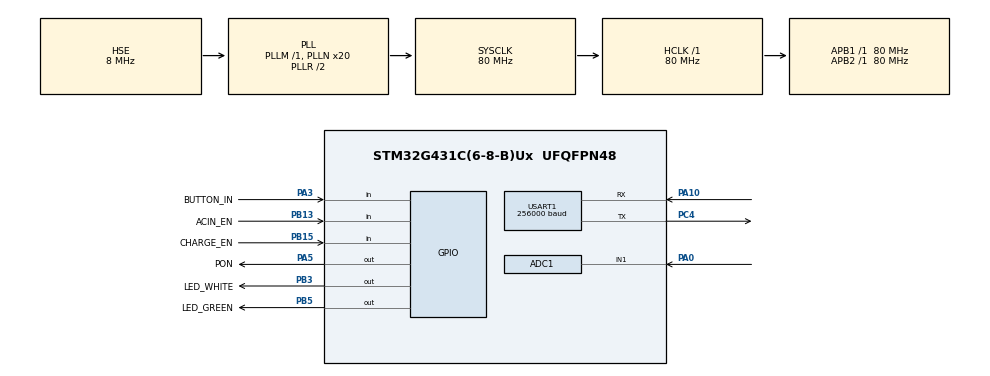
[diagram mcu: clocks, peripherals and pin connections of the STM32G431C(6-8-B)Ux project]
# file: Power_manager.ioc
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ADC1.Channel-0\#ChannelRegularConversion=ADC_CHANNEL_1
ADC1.NbrOfConversionFlag=1
ADC1.OffsetNumber-0\#ChannelRegularConversion=ADC_OFFSET_NONE
ADC1.Rank-0\#ChannelRegularConversion=1
ADC1.SamplingTime-0\#ChannelRegularConversion=ADC_SAMPLETIME_2CYCLES_5
ADC1.master=1
Mcu.Family=STM32G4
Mcu.Name=STM32G431C(6-8-B)Ux
Mcu.Package=UFQFPN48
NVIC.PriorityGroup=NVIC_PRIORITYGROUP_4
NVIC.USART1_IRQn=true\:1\:0\:true\:false\:true\:true\:true\:true
PA0.Mode=IN1-Single-Ended
PA0.Signal=ADC1_IN1
PA10.Mode=Asynchronous
PA10.Signal=USART1_RX
PA3.GPIO_Label=BUTTON_IN
PA3.GPIO_PuPd=GPIO_PULLUP
PA3.Signal=GPIO_Input
PA5.GPIO_Label=PON
PA5.GPIO_Speed=GPIO_SPEED_FREQ_MEDIUM
PA5.Signal=GPIO_Output
PB13.GPIO_Label=ACIN_EN
PB13.Signal=GPIO_Input
PB15.GPIO_Label=CHARGE_EN
PB15.Signal=GPIO_Input
PB3.GPIO_Label=LED_WHITE
PB3.GPIO_Speed=GPIO_SPEED_FREQ_HIGH
PB3.Signal=GPIO_Output
PB5.GPIO_Label=LED_GREEN
PB5.GPIO_Speed=GPIO_SPEED_FREQ_HIGH
PB5.Signal=GPIO_Output
PC4.Mode=Asynchronous
PC4.Signal=USART1_TX
PF0-OSC_IN.Mode=HSE-External-Oscillator
PF0-OSC_IN.Signal=RCC_OSC_IN
PF1-OSC_OUT.Mode=HSE-External-Oscillator
PF1-OSC_OUT.Signal=RCC_OSC_OUT
ProjectManager.HeapSize=0x200
ProjectManager.StackSize=0x400
ProjectManager.TargetToolchain=MDK-ARM V5.32
RCC.ADC12Freq_Value=80000000
RCC.AHBFreq_Value=80000000
RCC.APB1Freq_Value=80000000
RCC.APB1TimFreq_Value=80000000
RCC.APB2Freq_Value=80000000
RCC.APB2TimFreq_Value=80000000
RCC.CortexFreq_Value=80000000
RCC.EXTERNAL_CLOCK_VALUE=12288000
RCC.HCLKFreq_Value=80000000
RCC.HSE_VALUE=8000000
RCC.HSI48_VALUE=48000000
RCC.HSI_VALUE=16000000
RCC.LSE_VALUE=32768
RCC.PLLN=20
RCC.PLLSourceVirtual=RCC_PLLSOURCE_HSE
RCC.SYSCLKFreq_VALUE=80000000
RCC.SYSCLKSource=RCC_SYSCLKSOURCE_PLLCLK
RCC.USBFreq_Value=80000000
RCC.VCOOutputFreq_Value=160000000
USART1.BaudRate=256000
USART1.VirtualMode-Asynchronous=VM_ASYNC
VP_SYS_VS_DBSignals.Mode=DisableDeadBatterySignals
board=custom

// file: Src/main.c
/* USER CODE BEGIN Header */
/**
  ******************************************************************************
  * @file           : main.c
  * @brief          : Main program body
  ******************************************************************************
  * @attention
  *
  * Copyright (c) 2024 STMicroelectronics.
  * All rights reserved.
  *
  * This software is licensed under terms that can be found in the LICENSE file
  * in the root directory of this software component.
  * If no LICENSE file comes with this software, it is provided AS-IS.
  *
  ******************************************************************************
  */
/* USER CODE END Header */
#include "main.h"
#include "adc.h"
#include "usart.h"
#include "gpio.h"

/* USER CODE BEGIN PV */

////////////////////////////////////////////////////////////////////////////////////////
//
//
//
//
//		Generated with: STM32CubeMX 6.10.0
//		Firmware Package Name and Version STM32Cube FW_G4 V1.5.1
//
//
//
//
//
////////////////////////////////////////////////////////////////////////////////////////
//
//
//
//	ver. 0.17
//		- added all gpio
//		- added button and leds handler
//		-	added UART handler (need add UART interrupt and regenerate code)
//		-	added ADC process
//	ver. 0.18
//		- added gpio direct registers calling
//		-	improved USART1_IRQHandler
//	ver. 0.21
//		- fix quick blink period
//		- fix turn off after turn on bug
//	ver. 0.23
//		-	regenerate code
//		-	added UART IRQHandler
//	ver. 0.25
//		-	changed timings for button press and unpress
//	ver. 0.27
//		- uart speed up to 256000
//		-	main period changed 83,3Hz
//	ver. 0.29
//		- added % battery
//
//
//
////////////////////////////////////////////////////////////////////////////////////////

uint8_t fwver = 29;

#include "global_variables.h"

/* USER CODE END PV */

void SystemClock_Config(void);

int main(void)
{

  /* MCU Configuration--------------------------------------------------------*/

  /* Reset of all peripherals, Initializes the Flash interface and the Systick. */
  HAL_Init();

  /* Configure the system clock */
  SystemClock_Config();

  /* Initialize all configured peripherals */
  MX_GPIO_Init();
  MX_ADC1_Init();
  MX_USART1_UART_Init();
  /* USER CODE BEGIN 2 */
	HAL_GPIO_WritePin(GPIOB, LED_WHITE_Pin|LED_GREEN_Pin, GPIO_PIN_SET);
	USART1->CR1 |= USART_CR1_RXNEIE; //interrupt for a RX enable
	HAL_Delay(300);
	HAL_ADC_Start(&hadc1);
  /* USER CODE END 2 */

  /* Infinite loop */
  /* USER CODE BEGIN WHILE */
  while (1)
  {
	HAL_Delay(12);			//create 83,3Hz period

	if(HAL_GPIO_ReadPin(BUTTON_IN_GPIO_Port, BUTTON_IN_Pin)==0 && BUTTON_pressed==0)
		{
		LED_W_OFF;
		LED_G_OFF;
		tim_button_press = 0;
		TX_DATA[1] = B_PRESS;
		HAL_UART_Transmit(&huart1, TX_DATA, 2, 5);
		BUTTON_pressed = 1;
		}
	else if(HAL_GPIO_ReadPin(BUTTON_IN_GPIO_Port, BUTTON_IN_Pin)==0 && BUTTON_pressed==1)
		{
		if(tim_button_press<0xFFFF)
			{
			tim_button_press++;
			if(XDJ_POWER_ON==0)
				{
				if(tim_button_press==2)	// 0,024 sec pressed
					{
					HAL_GPIO_WritePin(PON_GPIO_Port, PON_Pin, GPIO_PIN_SET);
					LED_W_OFF;
					LED_G_ON;
					need_change_status_power = 1;
					}
				}
			else
				{
				if(tim_button_press==250)	//3 sec pressed (send turn off command to main assy, waitig answer)
					{
					TX_DATA[1] = T_OFF;
					HAL_UART_Transmit(&huart1, TX_DATA, 2, 5);
					LED_W_OFF;
					LED_G_OFF;
					quick_blink = 1;
					timeout_power = 0;
					}
				}
			}
		}
	else if(HAL_GPIO_ReadPin(BUTTON_IN_GPIO_Port, BUTTON_IN_Pin)==1 && BUTTON_pressed==1)
		{
		timeout_unpress++;
		if(timeout_unpress>3)
			{
			if(need_change_status_power>0)
				{
				XDJ_POWER_ON = 1;
				need_change_status_power = 0;
				}
			if(tim_button_press<83)  //short press
				{
				TX_DATA[1] = B_UNPRESS;
				HAL_UART_Transmit(&huart1, TX_DATA, 2, 5);
				}
			tim_button_press = 0xFFFF;
			timeout_unpress = 0;
			BUTTON_pressed = 0;
			}
		}

	if(quick_blink==0)
		{
		if(XDJ_POWER_ON==0 && BUTTON_pressed==0)
			{
			if(HAL_GPIO_ReadPin(GPIOB, ACIN_EN_Pin)==1)
				{
				if(HAL_GPIO_ReadPin(GPIOB, CHARGE_EN_Pin)==0)			//CHARGE enable
					{
					TX_DATA[0] = AC_CHARGE;
					blink_tim++;
					if(blink_tim<64 || (blink_tim>128 && blink_tim<192))
						{
						LED_W_OFF;
						LED_G_OFF;
						}
					else
						{
						LED_W_ON;
						LED_G_OFF;
						}
					}
				else			//charge disable - FULL
					{
					TX_DATA[0] = AC_FULL;
					LED_W_ON;
					LED_G_OFF;
					}
				}
			else
				{
				TX_DATA[0] = AC_DSBL;
				LED_W_OFF;
				LED_G_OFF;
				}
			}
		else if(XDJ_POWER_ON==1 && BUTTON_pressed==0)
			{
			if(HAL_GPIO_ReadPin(GPIOB, ACIN_EN_Pin)==1)
				{
				if(HAL_GPIO_ReadPin(GPIOB, CHARGE_EN_Pin)==0)			//CHARGE enable
					{
					TX_DATA[0] = AC_CHARGE;
					blink_tim++;
					if(blink_tim<64 || (blink_tim>128 && blink_tim<192))
						{
						LED_W_OFF;
						LED_G_ON;
						}
					else
						{
						LED_W_ON;
						LED_G_OFF;
						}
					}
				else			//charge disable - FULL
					{
					TX_DATA[0] = AC_FULL;
					LED_W_OFF;
					LED_G_ON;
					}
				}
			else
				{
				TX_DATA[0] = AC_DSBL;
				LED_W_OFF;
				LED_G_ON;
				}
			}
		if(previous_status!=TX_DATA[0])
			{
			if(XDJ_POWER_ON==1)
				{
				TX_DATA[1] = batt_prcntg;		//battery precentage
				HAL_UART_Transmit(&huart1, TX_DATA, 2, 5);
				}
			previous_status = TX_DATA[0];
			}
		}
	else				//turn off sequence (waitig answer form main assy)
		{
		if(timeout_power<1665)
			{
			timeout_power++;
			if(timeout_power==1664)			//20 sec pressed (hardware turn off)
				{
				quick_blink = 0;
				HAL_GPIO_WritePin(PON_GPIO_Port, PON_Pin, GPIO_PIN_RESET);
				LED_W_OFF;
				LED_G_OFF;
				XDJ_POWER_ON = 0;
				timeout_power = 0xFFFF;
				}
			}
		blink_tim++;
		LED_W_OFF;
		if((blink_tim%8)==0)
			{
			LED_G_ON;
			}
		else if((blink_tim%8)==4)
			{
			LED_G_OFF;
			}
		}

	if(usart_new_data)									////////////////////////usart data handler
		{
		HAL_Delay(2);
		if((U_RX_DATA[0]==AC_DSBL) && (U_RX_DATA[1]==T_OFF))				//turn off command
			{
			quick_blink = 0;
			HAL_GPIO_WritePin(PON_GPIO_Port, PON_Pin, GPIO_PIN_RESET);
			LED_W_OFF;
			LED_G_OFF;
			XDJ_POWER_ON = 0;
			}
		else if((U_RX_DATA[0]==AC_DSBL) && (U_RX_DATA[1]==BATT_RQ))				//ADC batt request
			{
			TX_DATA[1] = batt_prcntg;		//battery precentage
			HAL_UART_Transmit(&huart1, TX_DATA, 2, 5);
			}
		else if((U_RX_DATA[0]==AC_DSBL) && (U_RX_DATA[1]==FW_RQ))				//firmware version request
			{
			TX_DATA[1] = fwver & 0x80;
			HAL_UART_Transmit(&huart1, TX_DATA, 2, 5);
			}
		usart_new_data = 0;
		}

	/////////////////////////////ADC process
	//	12.392 - 2618
	//	11.498 - 2418
	//	9.898	 - 2070		- min
	//	12.605 - 2658		- max
	ADC_TEMP = HAL_ADC_GetValue(&hadc1);
	DATAV_TEMP*=7;
	DATAV_TEMP+=ADC_TEMP;
	DATAV_TEMP+=4;
	DATAV_TEMP>>=3;
	ADC_TEMP = DATAV_TEMP;
	if(ADC_TEMP>2069)
		{
		ADC_TEMP-=2070;
		ADC_TEMP*=11146;
		ADC_TEMP>>=16;
		batt_prcntg = ADC_TEMP;
		if(batt_prcntg>100)
			{
			batt_prcntg = 100;
			}
		}
	else
		{
		batt_prcntg = 0;
		}

	if(previous_batt_prcntg!=batt_prcntg)			//forceble tx batt prcntg to main assy
		{
		if((HAL_GetTick() - adc_timeout)>1000)
			{
			if(XDJ_POWER_ON==1)
				{
				TX_DATA[1] = batt_prcntg;		//battery precentage
				HAL_UART_Transmit(&huart1, TX_DATA, 2, 5);
				}
			adc_timeout = HAL_GetTick();
			previous_batt_prcntg = batt_prcntg;
			}
		}
	HAL_ADC_Start(&hadc1);

    /* USER CODE END WHILE */

  }
}

void SystemClock_Config(void)
{
  RCC_OscInitTypeDef RCC_OscInitStruct = {0};
  RCC_ClkInitTypeDef RCC_ClkInitStruct = {0};

  /** Configure the main internal regulator output voltage
  */
  HAL_PWREx_ControlVoltageScaling(PWR_REGULATOR_VOLTAGE_SCALE1);

  /** Initializes the RCC Oscillators according to the specified parameters
  * in the RCC_OscInitTypeDef structure.
  */
  RCC_OscInitStruct.OscillatorType = RCC_OSCILLATORTYPE_HSE;
  RCC_OscInitStruct.HSEState = RCC_HSE_ON;
  RCC_OscInitStruct.PLL.PLLState = RCC_PLL_ON;
  RCC_OscInitStruct.PLL.PLLSource = RCC_PLLSOURCE_HSE;
  RCC_OscInitStruct.PLL.PLLM = RCC_PLLM_DIV1;
  RCC_OscInitStruct.PLL.PLLN = 20;
  RCC_OscInitStruct.PLL.PLLP = RCC_PLLP_DIV2;
  RCC_OscInitStruct.PLL.PLLQ = RCC_PLLQ_DIV2;
  RCC_OscInitStruct.PLL.PLLR = RCC_PLLR_DIV2;
  if (HAL_RCC_OscConfig(&RCC_OscInitStruct) != HAL_OK)
  {
    Error_Handler();
  }

  /** Initializes the CPU, AHB and APB buses clocks
  */
  RCC_ClkInitStruct.ClockType = RCC_CLOCKTYPE_HCLK|RCC_CLOCKTYPE_SYSCLK
                              |RCC_CLOCKTYPE_PCLK1|RCC_CLOCKTYPE_PCLK2;
  RCC_ClkInitStruct.SYSCLKSource = RCC_SYSCLKSOURCE_PLLCLK;
  RCC_ClkInitStruct.AHBCLKDivider = RCC_SYSCLK_DIV1;
  RCC_ClkInitStruct.APB1CLKDivider = RCC_HCLK_DIV1;
  RCC_ClkInitStruct.APB2CLKDivider = RCC_HCLK_DIV1;

  if (HAL_RCC_ClockConfig(&RCC_ClkInitStruct, FLASH_LATENCY_2) != HAL_OK)
  {
    Error_Handler();
  }
}

/* USER CODE BEGIN 4 */

/////////////////////////////////////////////////////
//
//		UART handler
//
//
void USART1_IRQHandler(void)
	{
	uint8_t USART_RX_B;
	if(USART1->ISR & USART_ISR_RXNE)		//have a new data
		{
		USART_RX_B = (USART1->RDR);
		if(((HAL_GetTick() - usart_timeout)>120))
			{
			if(USART_RX_B==AC_DSBL)
				{
				usart_data_cnt = 0;
				U_RX_DATA[0] = USART_RX_B;
				}
			else
				{
				usart_data_cnt = 0xFF;
				}
			}
		else
			{
			if(usart_data_cnt<4)
				{
				usart_data_cnt++;
				U_RX_DATA[usart_data_cnt] = USART_RX_B;
				usart_new_data = 1;
				}
			}
		usart_timeout = HAL_GetTick();
		}
  HAL_UART_IRQHandler(&huart1);
	}

/* USER CODE END 4 */

void Error_Handler(void)
{
  __disable_irq();
  while (1)
  {
  }
}
